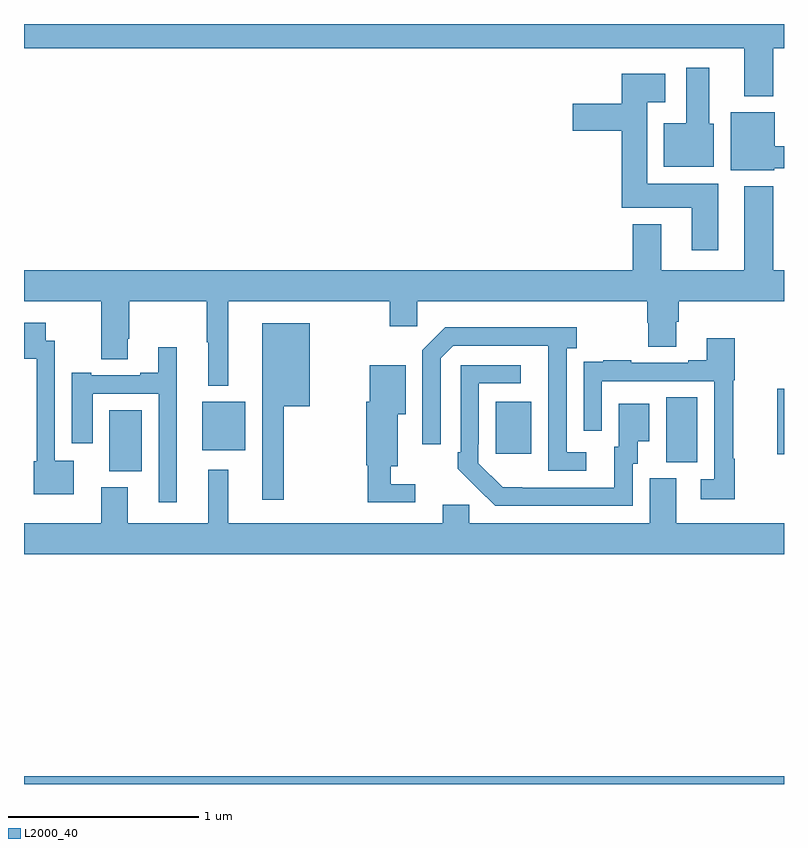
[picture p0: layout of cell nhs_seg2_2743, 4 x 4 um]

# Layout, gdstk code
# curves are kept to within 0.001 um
import gdstk
lib = gdstk.Library(unit=1e-6, precision=1e-09)
def R(c, l, rs):  # rectangles x0, y0, x1, y1
    for r in rs: c.add(gdstk.rectangle(r[:2], r[2:], *l))
def P(c, l, *ps):  # polygons
    for p in ps: c.add(gdstk.Polygon(p, *l))
L2000_40 = (2000, 40)

nhs_seg2_2743 = lib.new_cell('nhs_seg2_2743')
R(nhs_seg2_2743, L2000_40, [(255,607.8,259,607.84), (255.449,609.446,255.619,609.766), (258.38,609.493,258.544,609.836), (258.965,609.536,259,609.88), (257.483,609.537,257.671,609.811), (255.938,609.557,256.165,609.811)])
P(nhs_seg2_2743, L2000_40, [(258.944,611.672),(259,611.672),(259,611.8),(255,611.8),(255,611.672),(258.791,611.672),(258.791,611.42),(258.944,611.42)],
  [(258.631,611.274),(258.607,611.274),(258.607,611.569),(258.485,611.569),(258.485,611.278),(258.368,611.278),(258.368,611.048),(258.631,611.048)],
  [(258.655,610.96),(258.28,610.96),(258.28,611.387),(258.376,611.387),(258.376,611.539),(258.146,611.539),(258.146,611.379),(257.889,611.379),(257.889,611.237),(258.146,611.237),(258.146,610.832),(258.515,610.832),(258.515,610.608),(258.655,610.608)],
  [(258.948,611.04),(259,611.04),(259,611.156),(258.952,611.156),(258.952,611.335),(258.719,611.335),(258.719,611.03),(258.948,611.03)],
  [(256.075,610.34),(256.924,610.34),(256.924,610.209),(257.07,610.209),(257.07,610.34),(258.281,610.34),(258.281,610.227),(258.286,610.227),(258.286,610.102),(258.433,610.102),(258.433,610.234),(258.446,610.234),(258.446,610.34),(259,610.34),(259,610.504),(258.944,610.504),(258.944,610.945),(258.791,610.945),(258.791,610.504),(258.355,610.504),(258.355,610.747),(258.203,610.747),(258.203,610.504),(255,610.504),(255,610.34),(255.407,610.34),(255.407,610.036),(255.547,610.036),(255.547,610.144),(255.555,610.144),(255.555,610.34),(255.961,610.34),(255.961,610.124),(255.971,610.124),(255.971,609.896),(256.075,609.896)],
  [(255.262,609.502),(255.162,609.502),(255.162,610.134),(255.115,610.134),(255.115,610.228),(255,610.228),(255,610.037),(255.066,610.037),(255.066,609.498),(255.05,609.498),(255.05,609.326),(255.262,609.326)],
  [(256.367,609.788),(256.504,609.788),(256.504,610.225),(256.253,610.225),(256.253,609.297),(256.367,609.297)],
  [(257.959,609.546),(257.856,609.546),(257.856,610.094),(257.908,610.094),(257.908,610.204),(257.218,610.204),(257.097,610.083),(257.097,609.588),(257.193,609.588),(257.193,610.041),(257.259,610.107),(257.759,610.107),(257.76,609.45),(257.959,609.45)],
  [(258.742,609.512),(258.732,609.512),(258.732,609.924),(258.742,609.924),(258.742,610.147),(258.593,610.147),(258.593,610.03),(258.497,610.03),(258.497,610.017),(258.197,610.017),(258.197,610.03),(258.049,610.03),(258.049,610.023),(257.947,610.023),(257.947,609.914),(257.946,609.914),(257.946,609.66),(258.042,609.66),(258.042,609.921),(258.633,609.921),(258.633,609.405),(258.561,609.405),(258.561,609.3),(258.742,609.3)],
  [(255.805,610.099),(255.707,610.099),(255.707,609.964),(255.611,609.964),(255.611,609.951),(255.355,609.951),(255.355,609.964),(255.251,609.964),(255.251,609.594),(255.361,609.594),(255.361,609.855),(255.708,609.855),(255.708,609.282),(255.805,609.282)],
  [(258.204,609.486),(258.229,609.486),(258.229,609.605),(258.292,609.605),(258.292,609.802),(258.131,609.802),(258.131,609.576),(258.107,609.576),(258.107,609.36),(257.52,609.361),(257.391,609.489),(257.391,609.589),(257.394,609.589),(257.394,609.909),(257.614,609.909),(257.614,610.005),(257.298,610.005),(257.298,609.547),(257.283,609.547),(257.283,609.459),(257.48,609.264),(258.204,609.264)],
  [(257.059,609.378),(256.93,609.378),(256.93,609.473),(256.966,609.473),(256.966,609.746),(257.008,609.746),(257.008,610.003),(256.82,610.003),(256.82,609.813),(256.801,609.813),(256.801,609.477),(256.809,609.477),(256.809,609.282),(257.059,609.282)],
  [(259,609.172),(258.433,609.172),(258.433,609.408),(258.293,609.408),(258.293,609.172),(257.343,609.172),(257.343,609.27),(257.204,609.27),(257.204,609.172),(256.075,609.172),(256.075,609.454),(255.971,609.454),(255.971,609.172),(255.547,609.172),(255.547,609.361),(255.407,609.361),(255.407,609.172),(255,609.172),(255,609.008),(259,609.008)])

lib.write_gds('nhs_seg2_2743.gds')
